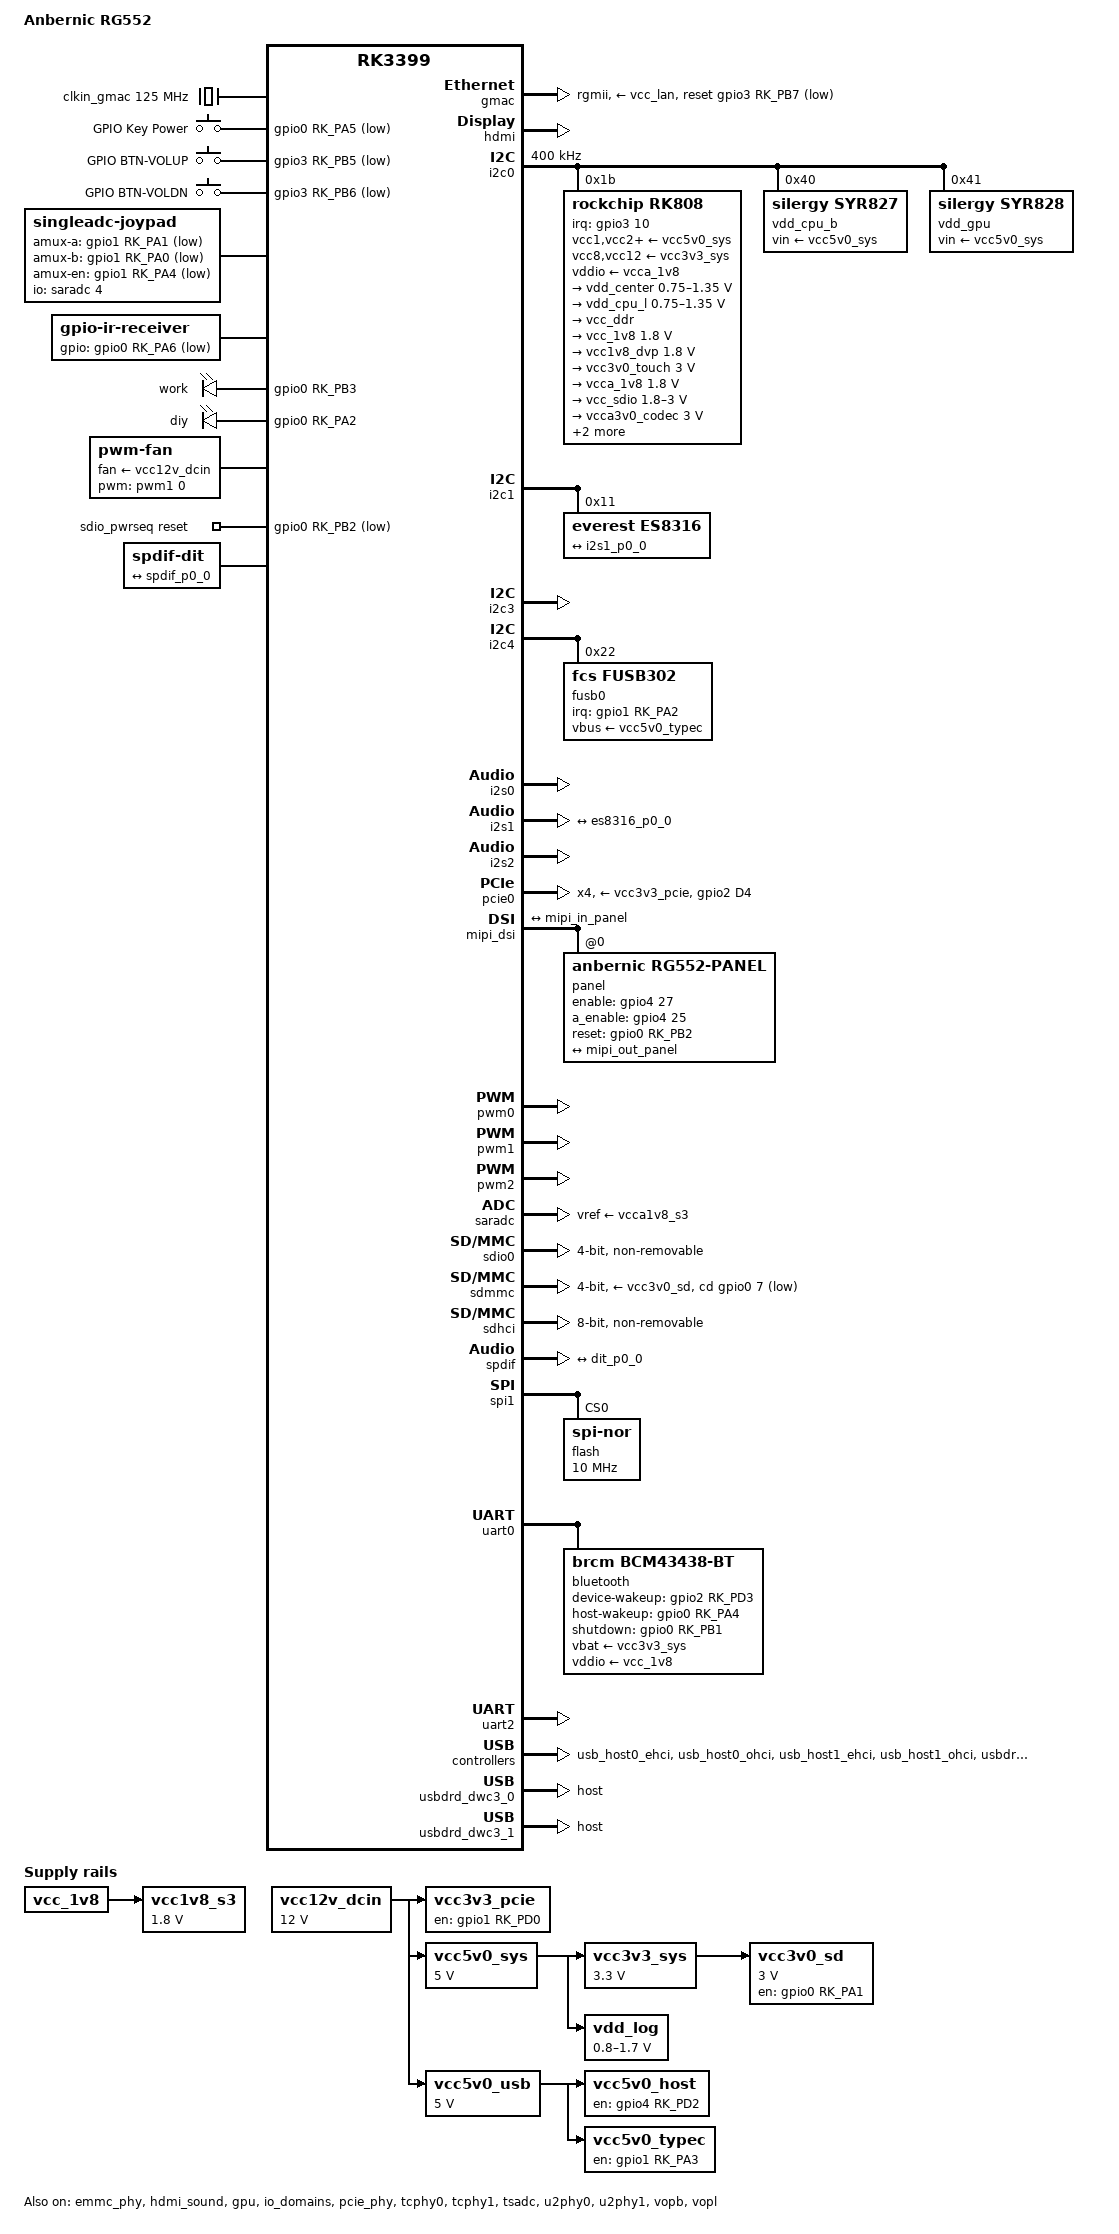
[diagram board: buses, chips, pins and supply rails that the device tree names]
// SPDX-License-Identifier: (GPL-2.0+ OR MIT)
/*
 * Copyright (c) 2017 Fuzhou Rockchip Electronics Co., Ltd.
 * Copyright (c) 2018 Akash Gajjar <Akash_Gajjar@mentor.com>
 * Copyright (c) 2019 Katsuhiro Suzuki <katsuhiro@katsuster.net>
 * Copyright (c) 2021 Romain Tisserand <romain.tisserand@gmail.com>
 */

/dts-v1/;
#include <dt-bindings/input/linux-event-codes.h>
#include <dt-bindings/pwm/pwm.h>
#include "rockchip/rk3399.dtsi"
#include "rockchip/rk3399-opp.dtsi"

/ {
	model = "Anbernic RG552";
	compatible = "anbernic, rg552", "pine64,rockpro64-v2.1", "pine64,rockpro64", "rockchip,rk3399";

	aliases {
		mmc0 = &sdio0;
		mmc1 = &sdmmc;
		mmc2 = &sdhci;
	};

	chosen {
		stdout-path = "serial2:1500000n8";
	};

	clkin_gmac: external-gmac-clock {
		compatible = "fixed-clock";
		clock-frequency = <125000000>;
		clock-output-names = "clkin_gmac";
		#clock-cells = <0>;
	};

	gpio-keys {
		compatible = "gpio-keys";
		#address-cells = <1>;
		#size-cells = <0>;
		autorepeat;
		pinctrl-names = "default";
		pinctrl-0 = <&pwrbtn>;

		power {
			debounce-interval = <100>;
			gpios = <&gpio0 RK_PA5 GPIO_ACTIVE_LOW>;
			label = "GPIO Key Power";
			linux,code = <KEY_POWER>;
			wakeup-source;
		};

		button@0 {
			label = "GPIO BTN-VOLUP";
			linux,code = <KEY_VOLUMEUP>;
			gpios = <&gpio3 RK_PB5 GPIO_ACTIVE_LOW>;
		};
		button@1 {
			label = "GPIO BTN-VOLDN";
			linux,code = <KEY_VOLUMEDOWN>;
			gpios = <&gpio3 RK_PB6 GPIO_ACTIVE_LOW>;
		};

	};

	joypad: singleadc-joypad {
		compatible = "singleadc-joypad";

		joypad-name = "retrogame_joypad";
		joypad-product = <0x1101>;
		joypad-revision = <0x0100>;

		status = "okay";

		/* gpio pincontrol setup */
		pinctrl-names = "default";
		pinctrl-0 = <&btn_pins>;

		/* Analog mux define */
		io-channel-names = "amux_adc";
		io-channels = <&saradc 4>;

		/* adc mux channel count */
		amux-count = <4>;
		/* adc mux select(a,b) gpio */
		amux-a-gpios = <&gpio1 RK_PA1 GPIO_ACTIVE_LOW>;
		amux-b-gpios = <&gpio1 RK_PA0 GPIO_ACTIVE_LOW>;
		/* adc mux enable gpio */
		amux-en-gpios = <&gpio1 RK_PA4 GPIO_ACTIVE_LOW>;

		/* adc calculate scale */
		button-adc-scale = <2>;

		/* adc deadzone range  */
		button-adc-deadzone = <64>;

		/*
		  specifies fuzz value that is used to filter noise from
		  the event stream.
		*/
		button-adc-fuzz = <32>;
		button-adc-flat = <32>;

		/*
		  Analog Stick data tuning value(precent)
		  p = positive direction, n = negative direction
		  report value = (real_adc_data * tuning_value) / 100
		*/
		abs_x-p-tuning = <300>;
		abs_x-n-tuning = <300>;

		abs_y-p-tuning = <300>;
		abs_y-n-tuning = <300>;

		abs_rx-p-tuning = <300>;
		abs_rx-n-tuning = <300>;

		abs_ry-p-tuning = <300>;
		abs_ry-n-tuning = <300>;

		/* poll device interval (ms), adc read interval */
		poll-interval = <10>;

		/* gpio button auto repeat set value : default disable */
		/*
			autorepeat;
		*/
		sw1 {
		        gpios = <&gpio3 RK_PA0 GPIO_ACTIVE_LOW>;
		        label = "GPIO DPAD-UP";
		        linux,code = <BTN_DPAD_UP>;
		};
		sw2 {
		        gpios = <&gpio3 RK_PA1 GPIO_ACTIVE_LOW>;
		        label = "GPIO DPAD-DOWN";
		        linux,code = <BTN_DPAD_DOWN>;
		};
		sw3 {
		        gpios = <&gpio3 RK_PA2 GPIO_ACTIVE_LOW>;
		        label = "GPIO DPAD-LEFT";
		        linux,code = <BTN_DPAD_LEFT>;
		};
		sw4 {
		        gpios = <&gpio3 RK_PA3 GPIO_ACTIVE_LOW>;
		        label = "GPIO DPAD-RIGHT";
		        linux,code = <BTN_DPAD_RIGHT>;
		};
		sw5 {
		        gpios = <&gpio3 RK_PA6 GPIO_ACTIVE_LOW>;
		        label = "GPIO KEY BTN-A";
		        linux,code = <BTN_EAST>;
		};
		sw6 {
		        gpios = <&gpio3 RK_PA7 GPIO_ACTIVE_LOW>;
		        label = "GPIO BTN-B";
		        linux,code = <BTN_SOUTH>;
		};
		sw7 {
		        gpios = <&gpio3 RK_PA4 GPIO_ACTIVE_LOW>;
		        label = "GPIO BTN-X";
		        linux,code = <BTN_NORTH>;
		};
		sw8 {
		        gpios = <&gpio3 RK_PA5 GPIO_ACTIVE_LOW>;
		        label = "GPIO BTN-Y";
		        linux,code = <BTN_WEST>;
		};
		sw9 {
		        gpios = <&gpio3 RK_PB1 GPIO_ACTIVE_LOW>;
		        label = "GPIO BTN_SELECT";
		        linux,code = <BTN_SELECT>;
		};
		sw10 {
		        gpios = <&gpio3 RK_PB0 GPIO_ACTIVE_LOW>;
		        label = "GPIO BTN_START";
		        linux,code = <BTN_START>;
		};
		sw11 {
		        gpios = <&gpio3 RK_PC0 GPIO_ACTIVE_LOW>;
		        label = "GPIO BTN_F";
		        linux,code = <BTN_MODE>;
		};
		sw12 {
		        gpios = <&gpio3 RK_PD0 GPIO_ACTIVE_LOW>;
		        label = "GPIO BTN_TL";
		        linux,code = <BTN_TL>;
		};
		sw13 {
		        gpios = <&gpio3 RK_PD2 GPIO_ACTIVE_LOW>;
		        label = "GPIO BTN_TR";
		        linux,code = <BTN_TR>;
		};
		sw14 {
		        gpios = <&gpio3 RK_PD1 GPIO_ACTIVE_LOW>;
		        label = "GPIO BTN_TL2";
		        linux,code = <BTN_TL2>;
		};
		sw15 {
		        gpios = <&gpio3 RK_PD3 GPIO_ACTIVE_LOW>;
		        label = "GPIO BTN_TR2";
		        linux,code = <BTN_TR2>;
		};
		sw16 {
		        gpios = <&gpio3 RK_PB3 GPIO_ACTIVE_LOW>;
		        label = "GPIO BTN_THUMBL";
		        linux,code = <BTN_THUMBL>;
		};
		sw17 {
		        gpios = <&gpio3 RK_PB4 GPIO_ACTIVE_LOW>;
		        label = "GPIO BTN_THUMBR";
		        linux,code = <BTN_THUMBR>;
		};
        };

	ir-receiver {
		compatible = "gpio-ir-receiver";
		gpios = <&gpio0 RK_PA6 GPIO_ACTIVE_LOW>;
		pinctrl-0 = <&ir_int>;
		pinctrl-names = "default";
	};

	leds {
		compatible = "gpio-leds";
		pinctrl-names = "default";
		pinctrl-0 = <&work_led_pin>, <&diy_led_pin>;

		work_led: led-0 {
			label = "work";
			default-state = "on";
			gpios = <&gpio0 RK_PB3 GPIO_ACTIVE_HIGH>;
		};

		diy_led: led-1 {
			label = "diy";
			default-state = "off";
			gpios = <&gpio0 RK_PA2 GPIO_ACTIVE_HIGH>;
		};
	};

	fan: pwm-fan {
		compatible = "pwm-fan";
		#cooling-cells = <2>;
		fan-supply = <&vcc12v_dcin>;
		pwms = <&pwm1 0 50000 0>;
	};

	sdio_pwrseq: sdio-pwrseq {
		compatible = "mmc-pwrseq-simple";
		clocks = <&rk808 1>;
		clock-names = "ext_clock";
		pinctrl-names = "default";
		pinctrl-0 = <&wifi_enable_h>;
		reset-gpios = <&gpio0 RK_PB2 GPIO_ACTIVE_LOW>;
	};

	sound {
		compatible = "audio-graph-card";
		label = "Analog";
		dais = <&i2s1_p0>;
	};

	sound-dit {
		compatible = "audio-graph-card";
		label = "SPDIF";
		dais = <&spdif_p0>;
	};

	spdif-dit {
		compatible = "linux,spdif-dit";
		#sound-dai-cells = <0>;

		port {
			dit_p0_0: endpoint {
				remote-endpoint = <&spdif_p0_0>;
			};
		};
	};

	vcc12v_dcin: vcc12v-dcin {
		compatible = "regulator-fixed";
		regulator-name = "vcc12v_dcin";
		regulator-always-on;
		regulator-boot-on;
		regulator-min-microvolt = <12000000>;
		regulator-max-microvolt = <12000000>;
	};

	/* switched by pmic_sleep */
	vcc1v8_s3: vcca1v8_s3: vcc1v8-s3 {
		compatible = "regulator-fixed";
		regulator-name = "vcc1v8_s3";
		regulator-always-on;
		regulator-boot-on;
		regulator-min-microvolt = <1800000>;
		regulator-max-microvolt = <1800000>;
		vin-supply = <&vcc_1v8>;
	};

	/* micro SD card power */
	vcc3v0_sd: vcc3v0-sd {
		compatible = "regulator-fixed";
		enable-active-high;
		gpio = <&gpio0 RK_PA1 GPIO_ACTIVE_HIGH>;
		pinctrl-names = "default";
		pinctrl-0 = <&sdmmc0_pwr_h>;
		regulator-name = "vcc3v0_sd";
		regulator-always-on;
		regulator-min-microvolt = <3000000>;
		regulator-max-microvolt = <3000000>;
		vin-supply = <&vcc3v3_sys>;

		regulator-state-mem {
			regulator-off-in-suspend;
		};
	};

	vcc3v3_pcie: vcc3v3-pcie-regulator {
		compatible = "regulator-fixed";
		enable-active-high;
		gpio = <&gpio1 RK_PD0 GPIO_ACTIVE_HIGH>;
		pinctrl-names = "default";
		pinctrl-0 = <&pcie_pwr_en>;
		regulator-name = "vcc3v3_pcie";
		regulator-always-on;
		regulator-boot-on;
		vin-supply = <&vcc12v_dcin>;
	};

	vcc3v3_sys: vcc3v3-sys {
		compatible = "regulator-fixed";
		regulator-name = "vcc3v3_sys";
		regulator-always-on;
		regulator-boot-on;
		regulator-min-microvolt = <3300000>;
		regulator-max-microvolt = <3300000>;
		vin-supply = <&vcc5v0_sys>;
	};

	/* Actually 3 regulators (host0, 1, 2) controlled by the same gpio */
	vcc5v0_host: vcc5v0-host-regulator {
		compatible = "regulator-fixed";
		enable-active-high;
		gpio = <&gpio4 RK_PD2 GPIO_ACTIVE_HIGH>;
		pinctrl-names = "default";
		pinctrl-0 = <&vcc5v0_host_en>;
		regulator-name = "vcc5v0_host";
		regulator-always-on;
		vin-supply = <&vcc5v0_usb>;
	};

	vcc5v0_typec: vcc5v0-typec-regulator {
		compatible = "regulator-fixed";
		enable-active-high;
		gpio = <&gpio1 RK_PA3 GPIO_ACTIVE_HIGH>;
		pinctrl-names = "default";
		pinctrl-0 = <&vcc5v0_typec_en>;
		regulator-name = "vcc5v0_typec";
		regulator-always-on;
		vin-supply = <&vcc5v0_usb>;
	};

	vcc5v0_sys: vcc5v0-sys {
		compatible = "regulator-fixed";
		regulator-name = "vcc5v0_sys";
		regulator-always-on;
		regulator-boot-on;
		regulator-min-microvolt = <5000000>;
		regulator-max-microvolt = <5000000>;
		vin-supply = <&vcc12v_dcin>;
	};

	vcc5v0_usb: vcc5v0-usb {
		compatible = "regulator-fixed";
		regulator-name = "vcc5v0_usb";
		regulator-always-on;
		regulator-boot-on;
		regulator-min-microvolt = <5000000>;
		regulator-max-microvolt = <5000000>;
		vin-supply = <&vcc12v_dcin>;
	};

	vdd_log: vdd-log {
		compatible = "pwm-regulator";
		pwms = <&pwm2 0 25000 1>;
		regulator-name = "vdd_log";
		regulator-always-on;
		regulator-boot-on;
		regulator-min-microvolt = <800000>;
		regulator-max-microvolt = <1700000>;
		vin-supply = <&vcc5v0_sys>;
	};
};

&cpu_l0 {
	cpu-supply = <&vdd_cpu_l>;
};

&cpu_l1 {
	cpu-supply = <&vdd_cpu_l>;
};

&cpu_l2 {
	cpu-supply = <&vdd_cpu_l>;
};

&cpu_l3 {
	cpu-supply = <&vdd_cpu_l>;
};

&cpu_b0 {
	cpu-supply = <&vdd_cpu_b>;
};

&cpu_b1 {
	cpu-supply = <&vdd_cpu_b>;
};

&emmc_phy {
	status = "okay";
};

&gmac {
	assigned-clocks = <&cru SCLK_RMII_SRC>;
	assigned-clock-parents = <&clkin_gmac>;
	clock_in_out = "input";
	phy-supply = <&vcc_lan>;
	phy-mode = "rgmii";
	pinctrl-names = "default";
	pinctrl-0 = <&rgmii_pins>;
	snps,reset-gpio = <&gpio3 RK_PB7 GPIO_ACTIVE_LOW>;
	snps,reset-active-low;
	snps,reset-delays-us = <0 10000 50000>;
	tx_delay = <0x28>;
	rx_delay = <0x11>;
	status = "okay";
};

&hdmi {
	ddc-i2c-bus = <&i2c3>;
	pinctrl-names = "default";
	pinctrl-0 = <&hdmi_cec>;
	status = "okay";
};

&hdmi_sound {
	status = "okay";
};

&gpu {
	mali-supply = <&vdd_gpu>;
	status = "okay";
};

&i2c0 {
	clock-frequency = <400000>;
	i2c-scl-rising-time-ns = <168>;
	i2c-scl-falling-time-ns = <4>;
	status = "okay";

	rk808: pmic@1b {
		compatible = "rockchip,rk808";
		reg = <0x1b>;
		interrupt-parent = <&gpio3>;
		interrupts = <10 IRQ_TYPE_LEVEL_LOW>;
		#clock-cells = <1>;
		clock-output-names = "xin32k", "rk808-clkout2";
		pinctrl-names = "default";
		pinctrl-0 = <&pmic_int_l>;
		rockchip,system-power-controller;
		wakeup-source;

		vcc1-supply = <&vcc5v0_sys>;
		vcc2-supply = <&vcc5v0_sys>;
		vcc3-supply = <&vcc5v0_sys>;
		vcc4-supply = <&vcc5v0_sys>;
		vcc6-supply = <&vcc5v0_sys>;
		vcc7-supply = <&vcc5v0_sys>;
		vcc8-supply = <&vcc3v3_sys>;
		vcc9-supply = <&vcc5v0_sys>;
		vcc10-supply = <&vcc5v0_sys>;
		vcc11-supply = <&vcc5v0_sys>;
		vcc12-supply = <&vcc3v3_sys>;
		vddio-supply = <&vcca_1v8>;

		regulators {
			vdd_center: DCDC_REG1 {
				regulator-name = "vdd_center";
				regulator-always-on;
				regulator-boot-on;
				regulator-min-microvolt = <750000>;
				regulator-max-microvolt = <1350000>;
				regulator-ramp-delay = <6001>;
				regulator-state-mem {
					regulator-off-in-suspend;
				};
			};

			vdd_cpu_l: DCDC_REG2 {
				regulator-name = "vdd_cpu_l";
				regulator-always-on;
				regulator-boot-on;
				regulator-min-microvolt = <750000>;
				regulator-max-microvolt = <1350000>;
				regulator-ramp-delay = <6001>;
				regulator-state-mem {
					regulator-off-in-suspend;
				};
			};

			vcc_ddr: DCDC_REG3 {
				regulator-name = "vcc_ddr";
				regulator-always-on;
				regulator-boot-on;
				regulator-state-mem {
					regulator-on-in-suspend;
				};
			};

			vcc_1v8: DCDC_REG4 {
				regulator-name = "vcc_1v8";
				regulator-always-on;
				regulator-boot-on;
				regulator-min-microvolt = <1800000>;
				regulator-max-microvolt = <1800000>;
				regulator-state-mem {
					regulator-on-in-suspend;
					regulator-suspend-microvolt = <1800000>;
				};
			};

			vcc1v8_dvp: LDO_REG1 {
				regulator-name = "vcc1v8_dvp";
				regulator-always-on;
				regulator-boot-on;
				regulator-min-microvolt = <1800000>;
				regulator-max-microvolt = <1800000>;
				regulator-state-mem {
					regulator-off-in-suspend;
				};
			};

			vcc3v0_touch: LDO_REG2 {
				regulator-name = "vcc3v0_touch";
				regulator-always-on;
				regulator-boot-on;
				regulator-min-microvolt = <3000000>;
				regulator-max-microvolt = <3000000>;
				regulator-state-mem {
					regulator-off-in-suspend;
				};
			};

			vcca_1v8: LDO_REG3 {
				regulator-name = "vcca_1v8";
				regulator-always-on;
				regulator-boot-on;
				regulator-min-microvolt = <1800000>;
				regulator-max-microvolt = <1800000>;
				regulator-state-mem {
					regulator-on-in-suspend;
					regulator-suspend-microvolt = <1800000>;
				};
			};

			vcc_sdio: LDO_REG4 {
				regulator-name = "vcc_sdio";
				regulator-always-on;
				regulator-boot-on;
				regulator-min-microvolt = <1800000>;
				regulator-max-microvolt = <3000000>;
				regulator-state-mem {
					regulator-on-in-suspend;
					regulator-suspend-microvolt = <3000000>;
				};
			};

			vcca3v0_codec: LDO_REG5 {
				regulator-name = "vcca3v0_codec";
				regulator-always-on;
				regulator-boot-on;
				regulator-min-microvolt = <3000000>;
				regulator-max-microvolt = <3000000>;
				regulator-state-mem {
					regulator-off-in-suspend;
				};
			};

			vcc_1v5: LDO_REG6 {
				regulator-name = "vcc_1v5";
				regulator-always-on;
				regulator-boot-on;
				regulator-min-microvolt = <1500000>;
				regulator-max-microvolt = <1500000>;
				regulator-state-mem {
					regulator-on-in-suspend;
					regulator-suspend-microvolt = <1500000>;
				};
			};

			vcca1v8_codec: LDO_REG7 {
				regulator-name = "vcca1v8_codec";
				regulator-always-on;
				regulator-boot-on;
				regulator-min-microvolt = <1800000>;
				regulator-max-microvolt = <1800000>;
				regulator-state-mem {
					regulator-off-in-suspend;
				};
			};

			vcc_3v0: LDO_REG8 {
				regulator-name = "vcc_3v0";
				regulator-always-on;
				regulator-boot-on;
				regulator-min-microvolt = <3000000>;
				regulator-max-microvolt = <3000000>;
				regulator-state-mem {
					regulator-on-in-suspend;
					regulator-suspend-microvolt = <3000000>;
				};
			};

			vcc3v3_s3: vcc_lan: SWITCH_REG1 {
				regulator-name = "vcc3v3_s3";
				regulator-always-on;
				regulator-boot-on;
				regulator-state-mem {
					regulator-off-in-suspend;
				};
			};

			vcc3v3_s0: SWITCH_REG2 {
				regulator-name = "vcc3v3_s0";
				regulator-always-on;
				regulator-boot-on;
				regulator-state-mem {
					regulator-off-in-suspend;
				};
			};
		};
	};

	vdd_cpu_b: regulator@40 {
		compatible = "silergy,syr827";
		reg = <0x40>;
		fcs,suspend-voltage-selector = <1>;
		pinctrl-names = "default";
		pinctrl-0 = <&vsel1_pin>;
		regulator-name = "vdd_cpu_b";
		regulator-min-microvolt = <712500>;
		regulator-max-microvolt = <1500000>;
		regulator-ramp-delay = <1000>;
		regulator-always-on;
		regulator-boot-on;
		vin-supply = <&vcc5v0_sys>;

		regulator-state-mem {
			regulator-off-in-suspend;
		};
	};

	vdd_gpu: regulator@41 {
		compatible = "silergy,syr828";
		reg = <0x41>;
		fcs,suspend-voltage-selector = <1>;
		pinctrl-names = "default";
		pinctrl-0 = <&vsel2_pin>;
		regulator-name = "vdd_gpu";
		regulator-min-microvolt = <712500>;
		regulator-max-microvolt = <1500000>;
		regulator-ramp-delay = <1000>;
		regulator-always-on;
		regulator-boot-on;
		vin-supply = <&vcc5v0_sys>;

		regulator-state-mem {
			regulator-off-in-suspend;
		};
	};
};

&i2c1 {
	i2c-scl-rising-time-ns = <300>;
	i2c-scl-falling-time-ns = <15>;
	status = "okay";
};

&i2c3 {
	i2c-scl-rising-time-ns = <450>;
	i2c-scl-falling-time-ns = <15>;
	status = "okay";
};

&i2c4 {
	i2c-scl-rising-time-ns = <600>;
	i2c-scl-falling-time-ns = <20>;
	status = "okay";

	fusb0: typec-portc@22 {
		compatible = "fcs,fusb302";
		reg = <0x22>;
		interrupt-parent = <&gpio1>;
		interrupts = <RK_PA2 IRQ_TYPE_LEVEL_LOW>;
		pinctrl-names = "default";
		pinctrl-0 = <&fusb0_int>;
		vbus-supply = <&vcc5v0_typec>;
		status = "okay";
	};
};

&i2s0 {
	rockchip,playback-channels = <8>;
	rockchip,capture-channels = <8>;
	status = "okay";
};

&i2s1 {
	rockchip,playback-channels = <2>;
	rockchip,capture-channels = <2>;
	status = "okay";

	i2s1_p0: port {
		i2s1_p0_0: endpoint {
			dai-format = "i2s";
			mclk-fs = <256>;
			remote-endpoint = <&es8316_p0_0>;
		};
	};
};

&i2s2 {
	status = "okay";
};

&io_domains {
	status = "okay";

	bt656-supply = <&vcc1v8_dvp>;
	audio-supply = <&vcc_3v0>;
	sdmmc-supply = <&vcc_sdio>;
	gpio1830-supply = <&vcc_3v0>;
};

&pcie0 {
	ep-gpios = <&gpio2 RK_PD4 GPIO_ACTIVE_HIGH>;
	num-lanes = <4>;
	pinctrl-names = "default";
	pinctrl-0 = <&pcie_perst>;
	vpcie12v-supply = <&vcc12v_dcin>;
	vpcie3v3-supply = <&vcc3v3_pcie>;
	status = "okay";
};

&pcie_phy {
	status = "okay";
};

&pmu_io_domains {
	pmu1830-supply = <&vcc_3v0>;
	status = "okay";
};

&pinctrl {
	bt {
		bt_enable_h: bt-enable-h {
			rockchip,pins = <0 RK_PB1 RK_FUNC_GPIO &pcfg_pull_none>;
		};

		bt_host_wake_l: bt-host-wake-l {
			rockchip,pins = <0 RK_PA4 RK_FUNC_GPIO &pcfg_pull_down>;
		};

		bt_wake_l: bt-wake-l {
			rockchip,pins = <2 RK_PD3 RK_FUNC_GPIO &pcfg_pull_none>;
		};
	};

	buttons {
		pwrbtn: pwrbtn {
			rockchip,pins = <0 RK_PA5 RK_FUNC_GPIO &pcfg_pull_up>;
		};

	btn_pins: btn-pins {
		rockchip,pins = 
				<3 RK_PA0 RK_FUNC_GPIO &pcfg_pull_up>,
				<3 RK_PA1 RK_FUNC_GPIO &pcfg_pull_up>,
				<3 RK_PA2 RK_FUNC_GPIO &pcfg_pull_up>,
				<3 RK_PA3 RK_FUNC_GPIO &pcfg_pull_up>,
				<3 RK_PA6 RK_FUNC_GPIO &pcfg_pull_up>,
				<3 RK_PA7 RK_FUNC_GPIO &pcfg_pull_up>,
				<3 RK_PA4 RK_FUNC_GPIO &pcfg_pull_up>,
				<3 RK_PA5 RK_FUNC_GPIO &pcfg_pull_up>,
				<3 RK_PD0 RK_FUNC_GPIO &pcfg_pull_up>,
				<3 RK_PD1 RK_FUNC_GPIO &pcfg_pull_up>,
				<3 RK_PD2 RK_FUNC_GPIO &pcfg_pull_up>,
				<3 RK_PD3 RK_FUNC_GPIO &pcfg_pull_up>,
				<3 RK_PB3 RK_FUNC_GPIO &pcfg_pull_up>,
				<3 RK_PB4 RK_FUNC_GPIO &pcfg_pull_up>,
				<3 RK_PB0 RK_FUNC_GPIO &pcfg_pull_up>,
				<3 RK_PB1 RK_FUNC_GPIO &pcfg_pull_up>,
				<3 RK_PB5 RK_FUNC_GPIO &pcfg_pull_up>,
				<3 RK_PB6 RK_FUNC_GPIO &pcfg_pull_up>,
				<3 RK_PC0 RK_FUNC_GPIO &pcfg_pull_up>;
		};

	};

	fusb302x {
		fusb0_int: fusb0-int {
			rockchip,pins = <1 RK_PA2 RK_FUNC_GPIO &pcfg_pull_up>;
		};
	};

	ir {
		ir_int: ir-int {
			rockchip,pins = <0 RK_PA6 RK_FUNC_GPIO &pcfg_pull_none>;
		};
	};

	leds {
		work_led_pin: work-led-pin {
			rockchip,pins = <0 RK_PB3 RK_FUNC_GPIO &pcfg_pull_none>;
		};

		diy_led_pin: diy-led-pin {
			rockchip,pins = <0 RK_PA2 RK_FUNC_GPIO &pcfg_pull_none>;
		};
	};

	pcie {
		pcie_perst: pcie-perst {
			rockchip,pins = <2 RK_PD4 RK_FUNC_GPIO &pcfg_pull_none>;
		};

		pcie_pwr_en: pcie-pwr-en {
			rockchip,pins = <1 RK_PD0 RK_FUNC_GPIO &pcfg_pull_none>;
		};
	};

	pmic {
		pmic_int_l: pmic-int-l {
			rockchip,pins = <3 RK_PB2 RK_FUNC_GPIO &pcfg_pull_up>;
		};

		vsel1_pin: vsel1-pin {
			rockchip,pins = <1 RK_PC1 RK_FUNC_GPIO &pcfg_pull_down>;
		};

		vsel2_pin: vsel2-pin {
			rockchip,pins = <1 RK_PB6 RK_FUNC_GPIO &pcfg_pull_down>;
		};
	};

	sdcard {
		sdmmc0_pwr_h: sdmmc0-pwr-h {
			rockchip,pins = <0 RK_PA1 RK_FUNC_GPIO &pcfg_pull_none>;
		};

	};

	sdio-pwrseq {
		wifi_enable_h: wifi-enable-h {
			rockchip,pins = <0 RK_PB2 RK_FUNC_GPIO &pcfg_pull_none>;
		};
	};

	usb-typec {
		vcc5v0_typec_en: vcc5v0_typec_en {
			rockchip,pins = <1 RK_PA3 RK_FUNC_GPIO &pcfg_pull_up>;
		};
	};

	usb2 {
		vcc5v0_host_en: vcc5v0-host-en {
			rockchip,pins = <4 RK_PD2 RK_FUNC_GPIO &pcfg_pull_none>;
		};
	};

	lcd_en {
		lcd_en_gpio: lcd-en-gpio {
			rockchip,pins =
				<4 RK_PD1 RK_FUNC_GPIO &pcfg_pull_up>,
				<4 RK_PD3 RK_FUNC_GPIO &pcfg_pull_up>;
		};
	};		

};

&mipi_dsi {
	status = "okay";

	ports {
		mipi_out: port@1 {
			reg = <1>;

			mipi_out_panel: endpoint {
				remote-endpoint = <&mipi_in_panel>;
			};
		};
	};

	panel@0 {
		compatible = "anbernic,rg552-panel";
		reg = <0>;

		/* pwm0 backlight */
		/* backlight = <&backlight>; */

		enable-gpios = <&gpio4 27 GPIO_ACTIVE_HIGH>;
		a_enable-gpios = <&gpio4 25 GPIO_ACTIVE_HIGH>;		

		/* Rev 0.2 LCD reset gpio GPIO3.C0 */
		reset-gpios = <&gpio0 RK_PB2 GPIO_ACTIVE_HIGH>;

		pinctrl-names = "default";
		pinctrl-0 = <&lcd_en_gpio>;	

		prepare-delay-ms = <2>;
		reset-delay-ms = <150>;
		init-delay-ms = <20>;
		enable-delay-ms = <120>;
		disable-delay-ms = <50>;
		unprepare-delay-ms = <20>;

		/* LCD size */
		width-mm = <69>;
		height-mm = <116>;

		/*
		dsi,flags = <(MIPI_DSI_MODE_VIDEO           |
			      MIPI_DSI_MODE_VIDEO_BURST     |
			      MIPI_DSI_MODE_LPM             |
			      MIPI_DSI_MODE_EOT_PACKET)>;

		dsi,format = <MIPI_DSI_FMT_RGB888>;
		dsi,lanes = <4>;

		panel-init-sequence = [
			39 00 04 B9 FF 83 99
			39 00 2B E0 01 13 17 34 38 3E 2C 47 07 0C 0F 12 14 11 13 12 18 0B 17 07 13 02 14 18 32 37 3D 29 43 07 0E 0C 0F 11 10 12 12 18 0C 17 07 13
			39 00 0D B1 00 7C 38 35 99 09 22 22 72 F2 68 58 
			15 00 02 D2 99
			39 00 20 D3 00 00 00 00 00 30 30 00 10 05 00 05 00 00 00 00 00 00 00 00 00 00 01 07 07 03 00 00 00 05 08
			39 00 21 D5 00 00 01 00 03 02 00 00 00 00 19 00 18 00 21 20 00 18 00 00 00 00 00 00 00 00 32 32 31 31 30 30	
			39 00 21 D6 40 40 02 03 00 01 40 40 40 40 18 40 19 40 20 21 40 18 40 40 40 40 40 40 40 40 32 32 31 31 30 30
			39 00 31 D8 28 2A 00 2A 28 02 C0 2A 00 00 00 00 00 00 00 00 00 00 00 00 00 00 00 00 00 00 00 00 00 00 00 00 00 00 00 00 00 00 00 00 28 02 00 2A 28 02 C0 2A
			39 00 0B B2 00 80 10 7F 05 01 23 4D 21 01
			39 00 29 B4 00 3F 00 41 00 3D 00 00 00 00 00 01 00 0F 01 02 05 40 00 00 3A 00 41 00 3D 00 00 00 00 00 01 00 0F 01 02 05 00 00 00 3A
			39 00 05 BA 03 82 A0 E5
			05 78 01 11
			05 78 01 29
		];
		*/

		/*
			39 00 05 BA 03 82 A0 ED
			39 00 04 BF CF 00 46
			05 78 01 11
			05 78 01 29
		*/

		/* 28: DisplayOff */
		/* 10: SleepIn */
		/*panel-exit-sequence = [
			05 00 01 28
			05 00 01 10
		];

		display-timings {
			native-mode = <&timing0>;

			timing0: timing0 {
				clock-frequency = <150000000>;
				hactive = <1152>;
				vactive = <1920>;
				hfront-porch = <64>;
				hsync-len = <4>;
				hback-porch = <32>;
				vfront-porch = <56>;
				vsync-len = <3>;
				vback-porch = <6>;
				hsync-active = <0>;
				vsync-active = <0>;
				de-active = <0>;
				pixelclk-active = <0>;
			};
		};
		*/
		
		port {
			mipi_in_panel: endpoint {
				remote-endpoint = <&mipi_out_panel>;
			};
		};
	};
};

&pwm0 {
	status = "okay";
};

&pwm1 {
	status = "okay";
};

&pwm2 {
	status = "okay";
};

&saradc {
	vref-supply = <&vcca1v8_s3>;
	status = "okay";
};

&sdio0 {
	bus-width = <4>;
	cap-sd-highspeed;
	cap-sdio-irq;
	disable-wp;
	keep-power-in-suspend;
	mmc-pwrseq = <&sdio_pwrseq>;
	non-removable;
	pinctrl-names = "default";
	pinctrl-0 = <&sdio0_bus4 &sdio0_cmd &sdio0_clk>;
	sd-uhs-sdr104;
	status = "okay";
};

&sdmmc {
	bus-width = <4>;
	cap-sd-highspeed;
	cd-gpios = <&gpio0 7 GPIO_ACTIVE_LOW>;
	disable-wp;
	max-frequency = <150000000>;
	pinctrl-names = "default";
	pinctrl-0 = <&sdmmc_clk &sdmmc_cmd &sdmmc_bus4>;
	vmmc-supply = <&vcc3v0_sd>;
	vqmmc-supply = <&vcc_sdio>;
	status = "okay";
};

&sdhci {
	bus-width = <8>;
	mmc-hs200-1_8v;
	non-removable;
	status = "okay";
};

&spdif {
	pinctrl-0 = <&spdif_bus_1>;

	spdif_p0: port {
		spdif_p0_0: endpoint {
			remote-endpoint = <&dit_p0_0>;
		};
	};
};

&spi1 {
	status = "okay";

	flash@0 {
		compatible = "jedec,spi-nor";
		reg = <0>;
		spi-max-frequency = <10000000>;
	};
};

&tcphy0 {
	status = "okay";
};

&tcphy1 {
	status = "okay";
};

&tsadc {
	/* tshut mode 0:CRU 1:GPIO */
	rockchip,hw-tshut-mode = <1>;
	/* tshut polarity 0:LOW 1:HIGH */
	rockchip,hw-tshut-polarity = <1>;
	status = "okay";
};

&u2phy0 {
	status = "okay";

	u2phy0_otg: otg-port {
		status = "okay";
	};

	u2phy0_host: host-port {
		phy-supply = <&vcc5v0_host>;
		status = "okay";
	};
};

&u2phy1 {
	status = "okay";

	u2phy1_otg: otg-port {
		status = "okay";
	};

	u2phy1_host: host-port {
		phy-supply = <&vcc5v0_host>;
		status = "okay";
	};
};

&uart0 {
	pinctrl-names = "default";
	pinctrl-0 = <&uart0_xfer &uart0_cts &uart0_rts>;
	status = "okay";

	bluetooth {
		compatible = "brcm,bcm43438-bt";
		clocks = <&rk808 1>;
		clock-names = "lpo";
		device-wakeup-gpios = <&gpio2 RK_PD3 GPIO_ACTIVE_HIGH>;
		host-wakeup-gpios = <&gpio0 RK_PA4 GPIO_ACTIVE_HIGH>;
		shutdown-gpios = <&gpio0 RK_PB1 GPIO_ACTIVE_HIGH>;
		pinctrl-names = "default";
		pinctrl-0 = <&bt_host_wake_l &bt_wake_l &bt_enable_h>;
		vbat-supply = <&vcc3v3_sys>;
		vddio-supply = <&vcc_1v8>;
	};
};

&uart2 {
	status = "okay";
};

&usb_host0_ehci {
	status = "okay";
};

&usb_host0_ohci {
	status = "okay";
};

&usb_host1_ehci {
	status = "okay";
};

&usb_host1_ohci {
	status = "okay";
};

&usbdrd3_0 {
	status = "okay";
};

&usbdrd_dwc3_0 {
	status = "okay";
	dr_mode = "host";
};

&usbdrd3_1 {
	status = "okay";
};

&usbdrd_dwc3_1 {
	status = "okay";
	dr_mode = "host";
};

&vopb {
	status = "okay";
};

&vopb_mmu {
	status = "okay";
};

&vopl {
	status = "okay";
};

&vopl_mmu {
	status = "okay";
};


&i2c1 {
	es8316: codec@11 {
		compatible = "everest,es8316";
		reg = <0x11>;
		clocks = <&cru SCLK_I2S_8CH_OUT>;
		clock-names = "mclk";
		#sound-dai-cells = <0>;

		port {
			es8316_p0_0: endpoint {
				remote-endpoint = <&i2s1_p0_0>;
			};
		};
	};
};
